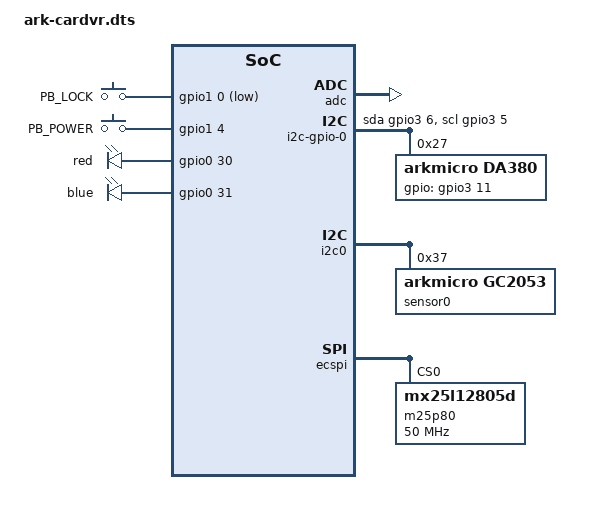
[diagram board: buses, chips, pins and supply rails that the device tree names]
// SPDX-License-Identifier: GPL-2.0
/dts-v1/;
#include "arkn141.dtsi"
#include "arkn141-pinctrl.dtsi"
#include <dt-bindings/gpio/gpio.h>

/ {
	sound {
		//compatible = "arkmicro,arkn141-audio";
		compatible = "simple-audio-card";
		simple-audio-card,format = "i2s";
		simple-audio-card,name = "arkn141-audio";
		#address-cells = <1>;
		#size-cells = <0>;

		simple-audio-card,dai-link@0 {		/* I2S - dac */
			reg = <0>;
			cpu {
				sound-dai = <&i2s_dac>;
			};
			codec {
				sound-dai = <&sddac>;
			};
		};

		simple-audio-card,dai-link@1 {		/* I2S - adc */
			reg = <1>;
			format = "i2s";
			cpu {
				sound-dai = <&i2s_adc>;
			};
			codec {
				sound-dai = <&sdadc>;
			};
		};
	};

	reserved-memory {
		#address-cells = <1>;
		#size-cells = <1>;
		ranges;

		/* global autoconfigured region for contiguous allocations */
		linux,cma {
			compatible = "shared-dma-pool";
			reusable;
			size = <0x3800000>;
			linux,cma-default;
		};
	};

	gpio_keys {
		compatible = "gpio-keys";

		key0 {
			label = "PB_LOCK";
			gpios = <&gpio1 0 GPIO_ACTIVE_LOW>;
			linux,code = <0x100>;
			debounce-interval = <20>;
		};

		key1 {
			label = "PB_POWER";
			gpios = <&gpio1 4 GPIO_ACTIVE_HIGH>;
			linux,code = <0x101>;
			debounce-interval = <20>;
		};
	};

	leds {
		compatible = "gpio-leds";

		led0 {
			label = "red";
			gpios = <&gpio0 30 GPIO_ACTIVE_HIGH>;
		};

		led1 {
			label = "blue";
			gpios = <&gpio0 31 GPIO_ACTIVE_HIGH>;
			linux,default-trigger = "timer";
			default-state = "on";
		};
	};

	adc {
		compatible = "arkmicro,arkn141-adc";
		reg = <0x40403000 0x1000
			0x40408000 0x1000>;
		interrupt-parent = <&intc>;
		interrupts = <0x10>;
	};

	i2c-gpio-0 {
		#address-cells = <1>;
		#size-cells = <0>;
		compatible = "i2c-gpio";
		gpios = <&gpio3 6 0		/* SDA */
			&gpio3 5 0		/* SCL */
		>;
		i2c-gpio,delay-us = <2>;	/* clk freq = 500/delay KHz */
		i2c-gpio,scl-output-only;
		//i2c-gpio,sda-open-drain;
		//i2c-gpio,scl-open-drain;

		da380: da380@4e {
			compatible = "arkmicro,da380";
			gpios = <&gpio3 11 0>;
			reg = <0x27>; /* i2c address(7 bits) */
		};
	};
};

&i2c0 {
	sensor0: gc2053@37 {
		compatible = "arkmicro,gc2053";
		reg = <0x37>;
		sensor-fps = <30>;
	};

	sensor1: imx322@1a {
		compatible = "arkmicro,imx322";
		reg = <0x1a>;
		sensor-fps = <30>;
		status = "disabled";
	};
};

&ecspi {
	m25p80@0 {
		#address-cells = <1>;
		#size-cells = <1>;
		compatible = "mx25l12805d";
		reg = <0>; /* Chip select 0 */
		spi-max-frequency = <50000000>;
	};
};
